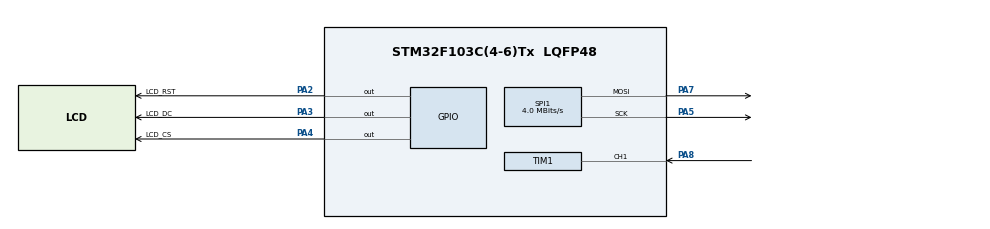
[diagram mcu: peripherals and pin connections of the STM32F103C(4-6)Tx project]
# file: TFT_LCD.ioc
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Mcu.Family=STM32F1
Mcu.Name=STM32F103C(4-6)Tx
Mcu.Package=LQFP48
NVIC.PriorityGroup=NVIC_PRIORITYGROUP_4
NVIC.TIM1_CC_IRQn=true\:0\:0\:false\:false\:true\:true\:true
PA2.GPIO_Label=LCD_RST
PA2.Signal=GPIO_Output
PA3.GPIO_Label=LCD_DC
PA3.Signal=GPIO_Output
PA4.GPIO_Label=LCD_CS
PA4.Signal=GPIO_Output
PA5.Mode=TX_Only_Simplex_Unidirect_Master
PA5.Signal=SPI1_SCK
PA7.Mode=TX_Only_Simplex_Unidirect_Master
PA7.Signal=SPI1_MOSI
PA8.Signal=S_TIM1_CH1
ProjectManager.HeapSize=0x200
ProjectManager.StackSize=0x400
ProjectManager.TargetToolchain=MDK-ARM V5.27
RCC.APB1Freq_Value=8000000
RCC.APB2Freq_Value=8000000
SH.S_TIM1_CH1.0=TIM1_CH1,Input_Capture1_from_TI1
SPI1.CalculateBaudRate=4.0 MBits/s
SPI1.Direction=SPI_DIRECTION_2LINES
SPI1.Mode=SPI_MODE_MASTER
SPI1.VirtualType=VM_MASTER
TIM1.Channel-Input_Capture1_from_TI1=TIM_CHANNEL_1
TIM1.Period=65535
TIM1.Prescaler=7
VP_SYS_VS_ND.Mode=No_Debug
VP_TIM1_VS_ClockSourceINT.Mode=Internal
board=custom

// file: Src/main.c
/* USER CODE BEGIN Header */
/**
  ******************************************************************************
  * @file           : main.c
  * @brief          : Main program body
  ******************************************************************************
  * @attention
  *
  * <h2><center>&copy; Copyright (c) 2021 STMicroelectronics.
  * All rights reserved.</center></h2>
  *
  * This software component is licensed by ST under BSD 3-Clause license,
  * the "License"; You may not use this file except in compliance with the
  * License. You may obtain a copy of the License at:
  *                        opensource.org/licenses/BSD-3-Clause
  *
  ******************************************************************************
  */
/* USER CODE END Header */
#include "main.h"

/* USER CODE BEGIN Includes */
#include "MY_ILI9341.h"
/* USER CODE END Includes */

/* USER CODE BEGIN PTD */
int rising_value=0;
int flag_first_rising=0;
int flag_change=0;
uint16_t rising_value1;
uint16_t rising_value2;
uint16_t period;
uint16_t Positon=0;
uint16_t Past_Positon=0;
void drawline(int Pos,uint16_t Color);
/* USER CODE END PTD */

SPI_HandleTypeDef hspi1;

TIM_HandleTypeDef htim1;

void SystemClock_Config(void);
static void MX_GPIO_Init(void);
static void MX_SPI1_Init(void);
static void MX_TIM1_Init(void);

int main(void)
{

  /* MCU Configuration--------------------------------------------------------*/

  /* Reset of all peripherals, Initializes the Flash interface and the Systick. */
  HAL_Init();

  /* Configure the system clock */
  SystemClock_Config();

  /* Initialize all configured peripherals */
  MX_GPIO_Init();
  MX_SPI1_Init();
  MX_TIM1_Init();
  /* USER CODE BEGIN 2 */
	//initilazing the LCD
	ILI9341_Init(&hspi1,LCD_CS_GPIO_Port,LCD_CS_Pin,LCD_DC_GPIO_Port,LCD_DC_Pin,LCD_RST_GPIO_Port,LCD_RST_Pin);
	//top to bottom
	ILI9341_setRotation(3);
	HAL_Delay(7000);

	//drawing main circle
	ILI9341_drawCircle(120,110,90,COLOR_BLACK);

	//drawing the degrees
	ILI9341_drawFastVLine(120,20,10,COLOR_BLACK); //for 0
	ILI9341_drawFastVLine(120,190,10,COLOR_BLACK); //for 90

	ILI9341_drawFastHLine(30,110,10,COLOR_BLACK); //for 135
	ILI9341_drawFastHLine(200,110,10,COLOR_BLACK); //for 45

	ILI9341_drawLine(195,65,190,70,COLOR_BLACK); //for 30
	ILI9341_drawLine(200,150,195,145,COLOR_BLACK); //for 60

	ILI9341_drawLine(45,65,50,70,COLOR_BLACK); //for 150
	ILI9341_drawLine(45,155,50,150,COLOR_BLACK); //for 120

	ILI9341_drawLine(165,31,160,36,COLOR_BLACK); //for 15
	ILI9341_drawLine(165,186,160,179,COLOR_BLACK); //for 75

	ILI9341_drawLine(73,31,78,36,COLOR_BLACK); //for 165
	ILI9341_drawLine(70,186,75,179,COLOR_BLACK); //for 105

	//wrting the degrees numbers
	ILI9341_drawChar(119,10,'0',COLOR_BLACK,COLOR_WHITE,1);//for 0

	char *degrees = malloc(256);

	strcpy(degrees, "90");
	ILI9341_printText(degrees,110,205,COLOR_BLACK,COLOR_WHITE,1);//for 90
	strcpy(degrees, "135");
	ILI9341_printText(degrees,10,110,COLOR_BLACK,COLOR_WHITE,1);//for 135
	strcpy(degrees, "45");
	ILI9341_printText(degrees,215,110,COLOR_BLACK,COLOR_WHITE,1);//for 45

	strcpy(degrees, "30");
	ILI9341_printText(degrees,200,60,COLOR_BLACK,COLOR_WHITE,1);//for 30
	strcpy(degrees, "60");
	ILI9341_printText(degrees,210,155,COLOR_BLACK,COLOR_WHITE,1);//for 60
	strcpy(degrees, "150");
	ILI9341_printText(degrees,20,65,COLOR_BLACK,COLOR_WHITE,1);//for 120
	strcpy(degrees, "120");
	ILI9341_printText(degrees,20,155,COLOR_BLACK,COLOR_WHITE,1);//for 150

	strcpy(degrees, "15");
	ILI9341_printText(degrees,163,20,COLOR_BLACK,COLOR_WHITE,1);//for 15

	strcpy(degrees, "75");
	ILI9341_printText(degrees,163,200,COLOR_BLACK,COLOR_WHITE,1);//for 75

	strcpy(degrees, "165");
	ILI9341_printText(degrees,60,20,COLOR_BLACK,COLOR_WHITE,1);//for 165

	strcpy(degrees, "105");
	ILI9341_printText(degrees,55,195,COLOR_BLACK,COLOR_WHITE,1);//for 105

	strcpy(degrees, "RPM");
	ILI9341_printText(degrees,90,250,COLOR_BLACK,COLOR_WHITE,4);//for RPM

	//starting timer
	HAL_TIM_IC_Start_IT(&htim1,TIM_CHANNEL_1);
  /* USER CODE END 2 */

  /* Infinite loop */
  while (1)
  {

  }
}

void SystemClock_Config(void)
{
  RCC_OscInitTypeDef RCC_OscInitStruct = {0};
  RCC_ClkInitTypeDef RCC_ClkInitStruct = {0};

  /** Initializes the RCC Oscillators according to the specified parameters
  * in the RCC_OscInitTypeDef structure.
  */
  RCC_OscInitStruct.OscillatorType = RCC_OSCILLATORTYPE_HSI;
  RCC_OscInitStruct.HSIState = RCC_HSI_ON;
  RCC_OscInitStruct.HSICalibrationValue = RCC_HSICALIBRATION_DEFAULT;
  RCC_OscInitStruct.PLL.PLLState = RCC_PLL_NONE;
  if (HAL_RCC_OscConfig(&RCC_OscInitStruct) != HAL_OK)
  {
    Error_Handler();
  }
  /** Initializes the CPU, AHB and APB buses clocks
  */
  RCC_ClkInitStruct.ClockType = RCC_CLOCKTYPE_HCLK|RCC_CLOCKTYPE_SYSCLK
                              |RCC_CLOCKTYPE_PCLK1|RCC_CLOCKTYPE_PCLK2;
  RCC_ClkInitStruct.SYSCLKSource = RCC_SYSCLKSOURCE_HSI;
  RCC_ClkInitStruct.AHBCLKDivider = RCC_SYSCLK_DIV1;
  RCC_ClkInitStruct.APB1CLKDivider = RCC_HCLK_DIV1;
  RCC_ClkInitStruct.APB2CLKDivider = RCC_HCLK_DIV1;

  if (HAL_RCC_ClockConfig(&RCC_ClkInitStruct, FLASH_LATENCY_0) != HAL_OK)
  {
    Error_Handler();
  }
}

static void MX_SPI1_Init(void)
{

  /* SPI1 parameter configuration*/
  hspi1.Instance = SPI1;
  hspi1.Init.Mode = SPI_MODE_MASTER;
  hspi1.Init.Direction = SPI_DIRECTION_2LINES;
  hspi1.Init.DataSize = SPI_DATASIZE_8BIT;
  hspi1.Init.CLKPolarity = SPI_POLARITY_LOW;
  hspi1.Init.CLKPhase = SPI_PHASE_1EDGE;
  hspi1.Init.NSS = SPI_NSS_SOFT;
  hspi1.Init.BaudRatePrescaler = SPI_BAUDRATEPRESCALER_2;
  hspi1.Init.FirstBit = SPI_FIRSTBIT_MSB;
  hspi1.Init.TIMode = SPI_TIMODE_DISABLE;
  hspi1.Init.CRCCalculation = SPI_CRCCALCULATION_DISABLE;
  hspi1.Init.CRCPolynomial = 10;
  if (HAL_SPI_Init(&hspi1) != HAL_OK)
  {
    Error_Handler();
  }

}

static void MX_TIM1_Init(void)
{

  TIM_ClockConfigTypeDef sClockSourceConfig = {0};
  TIM_MasterConfigTypeDef sMasterConfig = {0};
  TIM_IC_InitTypeDef sConfigIC = {0};

  htim1.Instance = TIM1;
  htim1.Init.Prescaler = 7;
  htim1.Init.CounterMode = TIM_COUNTERMODE_UP;
  htim1.Init.Period = 65535;
  htim1.Init.ClockDivision = TIM_CLOCKDIVISION_DIV1;
  htim1.Init.RepetitionCounter = 0;
  htim1.Init.AutoReloadPreload = TIM_AUTORELOAD_PRELOAD_DISABLE;
  if (HAL_TIM_Base_Init(&htim1) != HAL_OK)
  {
    Error_Handler();
  }
  sClockSourceConfig.ClockSource = TIM_CLOCKSOURCE_INTERNAL;
  if (HAL_TIM_ConfigClockSource(&htim1, &sClockSourceConfig) != HAL_OK)
  {
    Error_Handler();
  }
  if (HAL_TIM_IC_Init(&htim1) != HAL_OK)
  {
    Error_Handler();
  }
  sMasterConfig.MasterOutputTrigger = TIM_TRGO_RESET;
  sMasterConfig.MasterSlaveMode = TIM_MASTERSLAVEMODE_DISABLE;
  if (HAL_TIMEx_MasterConfigSynchronization(&htim1, &sMasterConfig) != HAL_OK)
  {
    Error_Handler();
  }
  sConfigIC.ICPolarity = TIM_INPUTCHANNELPOLARITY_RISING;
  sConfigIC.ICSelection = TIM_ICSELECTION_DIRECTTI;
  sConfigIC.ICPrescaler = TIM_ICPSC_DIV1;
  sConfigIC.ICFilter = 0;
  if (HAL_TIM_IC_ConfigChannel(&htim1, &sConfigIC, TIM_CHANNEL_1) != HAL_OK)
  {
    Error_Handler();
  }

}

static void MX_GPIO_Init(void)
{
  GPIO_InitTypeDef GPIO_InitStruct = {0};

  /* GPIO Ports Clock Enable */
  __HAL_RCC_GPIOA_CLK_ENABLE();

  /*Configure GPIO pin Output Level */
  HAL_GPIO_WritePin(GPIOA, LCD_RST_Pin|LCD_DC_Pin|LCD_CS_Pin, GPIO_PIN_RESET);

  /*Configure GPIO pins : LCD_RST_Pin LCD_DC_Pin LCD_CS_Pin */
  GPIO_InitStruct.Pin = LCD_RST_Pin|LCD_DC_Pin|LCD_CS_Pin;
  GPIO_InitStruct.Mode = GPIO_MODE_OUTPUT_PP;
  GPIO_InitStruct.Pull = GPIO_NOPULL;
  GPIO_InitStruct.Speed = GPIO_SPEED_FREQ_LOW;
  HAL_GPIO_Init(GPIOA, &GPIO_InitStruct);

}

/* USER CODE BEGIN 4 */

void drawline(int Pos,uint16_t Color)
{

	//for differnet Pos we draw differnet line
	if(Pos>=0 && Pos<15)
		{
			ILI9341_drawFastVLine(120,110,50,Color); //0
		}
	if(Pos>=15 && Pos<30)
		{
			ILI9341_drawLine(120,110,140,56,Color); //15
		}
	if (Pos>=30 && Pos<45)
		{
			ILI9341_drawLine(120,110,170,85,Color); //30
		}
	if (Pos>=45 && Pos<60)
		{
			ILI9341_drawFastHLine(120,110,60,Color); //45
		}
	if (Pos>=60 && Pos<75)
		{
			ILI9341_drawLine(120,110,175,135,Color); //60
		}
	if (Pos>=75 && Pos<90)
		{
			ILI9341_drawLine(120,110,150,169,Color); //75
		}

	if (Pos>=90 && Pos<105)
		{
				ILI9341_drawFastVLine(120,110,60,Color); //90
		}
	if (Pos>=105 && Pos<120)
		{
			ILI9341_drawLine(120,110,85,159,Color); //105
		}
	if (Pos>=120 && Pos<135)
		{
			ILI9341_drawLine(120,110,65,140,Color); //120
		}
	if (Pos>=135 && Pos<150)
		{
				ILI9341_drawFastHLine(60,110,60,Color); //135
		}

		if (Pos>=150 && Pos<165)
		{
			ILI9341_drawLine(120,110,65,70,Color); //150
		}
	if (Pos>=165 && Pos<180)
		{
				ILI9341_drawLine(120,110,88,56,Color); //165
		}

}
void HAL_TIM_IC_CaptureCallback(TIM_HandleTypeDef *htim)
{
	if(htim==&htim1 &&  htim->Channel == HAL_TIM_ACTIVE_CHANNEL_1) //rising edge detected.
	{
		if(flag_first_rising == 0) //first rising edge
		{
			rising_value1 = HAL_TIM_ReadCapturedValue(htim,TIM_CHANNEL_1);
			flag_first_rising = 1;
		}
		else
		{
			rising_value2 = HAL_TIM_ReadCapturedValue(htim,TIM_CHANNEL_1);
			flag_first_rising = 0;

			if(rising_value2 > rising_value1) //now both edges has came.
			{
				period = rising_value2 - rising_value1;
				char charray[200];
				Positon=1000000/period;				//Calculating frequency
				Positon=Positon*60/24; //Calculating RPM
				/*
				sprintf(charray, "%d", Positon);
				ILI9341_printText(charray,110,120,COLOR_BLACK,COLOR_WHITE,1);//90
				*/
				if(abs(Positon-Past_Positon)>7)
				{
					drawline(Past_Positon,COLOR_WHITE);//earsing the last rpm speed
					drawline(Positon,COLOR_RED);//drawing the new rpm speed
					Past_Positon=Positon;
				}
			else
			{
				period = (0xffff - rising_value1) + rising_value2;
				char charray[200];
				Positon=1000000/period; //Calculating frequency
				Positon=Positon*60/24; //Calculating RPM
				if(abs(Positon-Past_Positon)>7)
				{
					drawline(Past_Positon,COLOR_WHITE);//earsing the last rpm speed
					drawline(Positon,COLOR_RED);//drawing the new rpm speed
					Past_Positon=Positon;
				}
			}
		}

	}
}
	}
/* USER CODE END 4 */

void Error_Handler(void)
{
}

/************************ (C) COPYRIGHT STMicroelectronics *****END OF FILE****/
